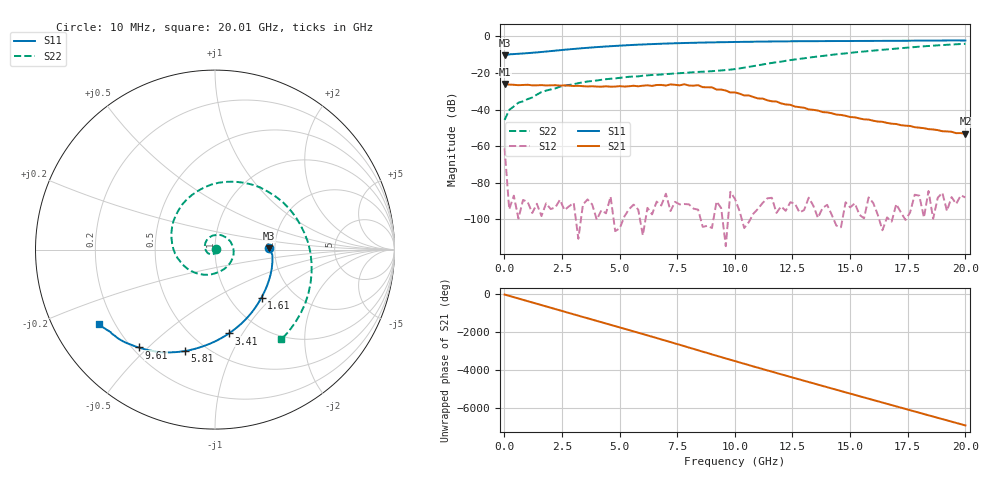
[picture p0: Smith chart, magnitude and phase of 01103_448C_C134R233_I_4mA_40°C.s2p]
!;Filter: kein Filter
!auto
!3/21/2019 9:25:24 AM
!3/21/2019 9:25:40 AM
!SP-Measurements Prober G4
!SP-Measurements Prober G4
!01103_448C
!134
!233
!12
!40
!-20
!0.00399976
!1.88
!0.54220246
!0.54220246
# Hz S  RI  R 50
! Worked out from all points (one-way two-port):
!   101 points, 10 MHz to 20.01 GHz, reference 50 ohm
!   highest |S21| = -26.09 dB at 10 MHz (marker M1); lowest = -53.2 dB at 20.01 GHz (marker M2)
!   lowest |S11| = -10.4 dB at 10 MHz (marker M3), VSWR 1.87, Z = 93.4 + j1.29 ohm
!   |S11| at or under -10 dB: start of sweep to 162.8 MHz
!   |S22| runs from -45.7 to -4.1 dB; largest |S21 - S12| = 0.049
!   S11 on the Smith chart (normalised r, x): 10 MHz: 1.87, +0.03; 1.61 GHz: 1.39, -0.86; 3.41 GHz: 0.73, -0.87; 5.81 GHz: 0.39, -0.67; 9.61 GHz: 0.22, -0.47; 20.01 GHz: 0.14, -0.29
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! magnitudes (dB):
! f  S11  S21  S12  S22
! 10 MHz  -10.4  -26.1  -61.2  -45.7
! 210 MHz  -9.9  -26.4  -94.5  -40.2
! 610 MHz  -9.6  -26.7  -99.5  -36.3
! 1.21 GHz  -9.0  -26.8  -96.5  -33.4
! 1.61 GHz  -8.6  -26.7  -98.2  -30.5
! 2.61 GHz  -7.4  -26.8  -94.9  -26.9
! 3.41 GHz  -6.5  -27.2  -91.9  -25.1
! 5.81 GHz  -4.6  -27.3  -94.6  -21.9
! 6.81 GHz  -4.1  -26.6  -92.4  -20.9
! 8.41 GHz  -3.5  -26.7  -94.7  -19.5
! 8.61 GHz  -3.4  -27.8  -104.1  -19.4
! 9.01 GHz  -3.3  -27.9  -104.7  -19.1
! 9.21 GHz  -3.3  -29.1  -90.2  -18.9
! 9.61 GHz  -3.2  -29.6  -114.6  -18.4
! 9.81 GHz  -3.2  -30.7  -84.9  -18.2
! 10.01 GHz  -3.1  -30.6  -88.9  -17.9
! 10.41 GHz  -3.0  -32.3  -104.7  -17.1
! 10.61 GHz  -3.0  -32.3  -101.5  -16.7
! 11.01 GHz  -2.9  -34.0  -94.2  -15.9
! 13.41 GHz  -2.7  -40.2  -92.5  -11.4
! 16.81 GHz  -2.5  -47.8  -101.2  -7.0
! 20.01 GHz  -2.3  -53.2  -88.0  -4.1
